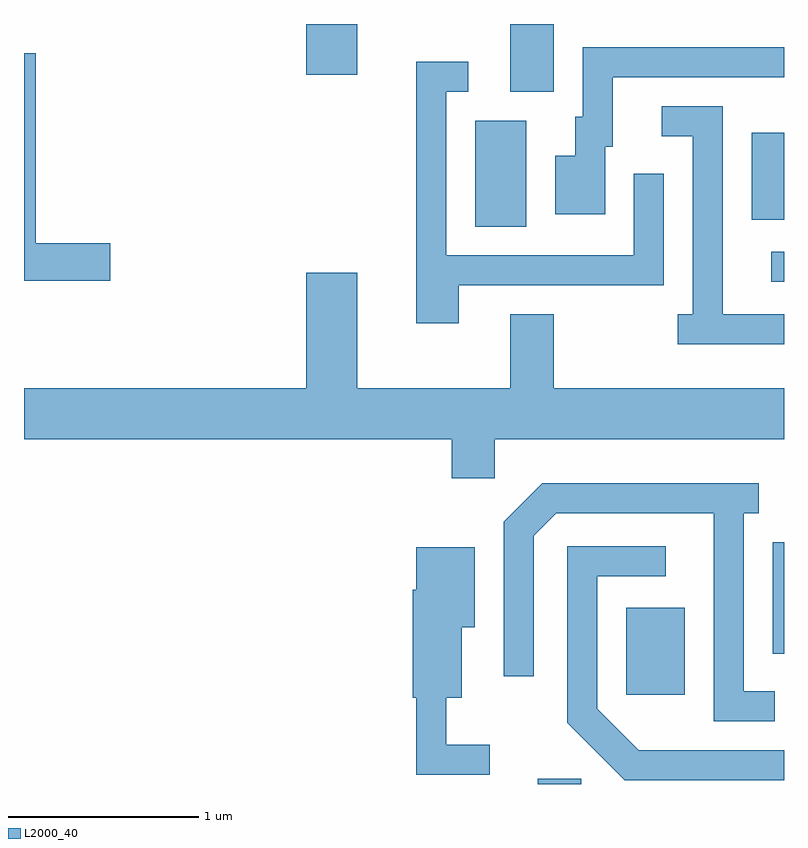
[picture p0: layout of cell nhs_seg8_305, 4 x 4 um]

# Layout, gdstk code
import gdstk
lib = gdstk.Library(unit=1e-6, precision=1e-09)
def R(c, l, rs):  # rectangles x0, y0, x1, y1
    for r in rs: c.add(gdstk.rectangle(r[:2], r[2:], *l))
def P(c, l, *ps):  # polygons
    for p in ps: c.add(gdstk.Polygon(p, *l))
L2000_40 = (2000, 40)

nhs_seg8_305 = lib.new_cell('nhs_seg8_305')
R(nhs_seg8_305, L2000_40, [(196.316,1872.342,196.544,1872.369), (196.781,1872.811,197.089,1873.269), (197.551,1873.028,197.611,1873.614), (197.543,1874.986,197.611,1875.144), (195.986,1875.276,196.254,1875.834), (197.441,1875.311,197.611,1875.769), (196.171,1875.986,196.399,1876.342), (195.096,1876.076,195.364,1876.342)])
P(nhs_seg8_305, L2000_40, [(196.669,1875.696),(196.709,1875.696),(196.709,1876.061),(197.611,1876.061),(197.611,1876.219),(196.551,1876.219),(196.551,1875.854),(196.511,1875.854),(196.511,1875.649),(196.406,1875.649),(196.406,1875.341),(196.669,1875.341)],
  [(194.064,1875.189),(193.674,1875.189),(193.674,1876.189),(193.611,1876.189),(193.611,1874.991),(194.064,1874.991)],
  [(195.899,1874.966),(196.979,1874.966),(196.979,1875.553),(196.821,1875.553),(196.821,1875.124),(195.834,1875.124),(195.834,1875.986),(195.948,1875.986),(195.948,1876.144),(195.676,1876.144),(195.676,1874.766),(195.899,1874.766)],
  [(197.611,1874.814),(197.289,1874.814),(197.289,1875.909),(196.968,1875.909),(196.968,1875.751),(197.131,1875.751),(197.131,1874.814),(197.053,1874.814),(197.053,1874.656),(197.611,1874.656)],
  [(196.089,1874.156),(197.611,1874.156),(197.611,1874.424),(196.399,1874.424),(196.399,1874.814),(196.171,1874.814),(196.171,1874.424),(195.364,1874.424),(195.364,1875.034),(195.096,1875.034),(195.096,1874.424),(193.611,1874.424),(193.611,1874.156),(195.861,1874.156),(195.861,1873.951),(196.089,1873.951)],
  [(197.563,1872.829),(197.399,1872.829),(197.399,1873.766),(197.478,1873.766),(197.478,1873.924),(196.339,1873.924),(196.136,1873.722),(196.136,1872.908),(196.294,1872.908),(196.294,1873.649),(196.412,1873.766),(197.241,1873.766),(197.241,1872.671),(197.563,1872.671)],
  [(197.611,1872.519),(196.847,1872.519),(196.629,1872.737),(196.629,1873.436),(196.988,1873.436),(196.988,1873.594),(196.471,1873.594),(196.471,1872.664),(196.774,1872.361),(197.611,1872.361)],
  [(196.063,1872.549),(195.834,1872.549),(195.834,1872.796),(195.914,1872.796),(195.914,1873.166),(195.984,1873.166),(195.984,1873.589),(195.676,1873.589),(195.676,1873.364),(195.656,1873.364),(195.656,1872.796),(195.676,1872.796),(195.676,1872.391),(196.063,1872.391)])

lib.write_gds('nhs_seg8_305.gds')
